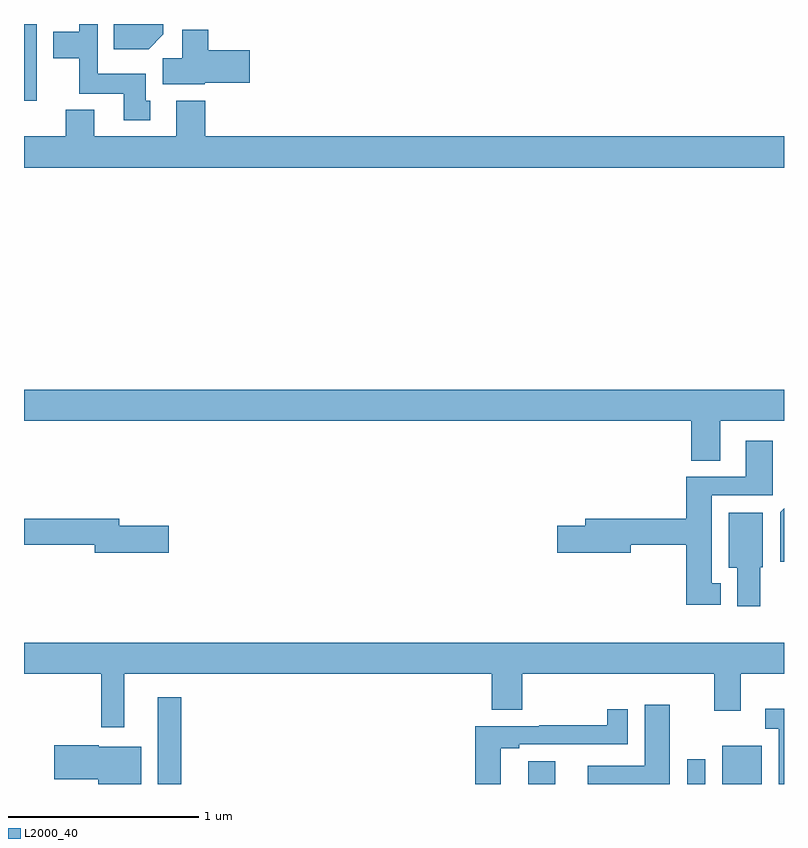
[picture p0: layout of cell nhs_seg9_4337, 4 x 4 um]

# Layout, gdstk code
import gdstk
lib = gdstk.Library(unit=1e-6, precision=1e-09)
def R(c, l, rs):  # rectangles x0, y0, x1, y1
    for r in rs: c.add(gdstk.rectangle(r[:2], r[2:], *l))
def P(c, l, *ps):  # polygons
    for p in ps: c.add(gdstk.Polygon(p, *l))
L2000_40 = (2000, 40)

nhs_seg9_4337 = lib.new_cell('nhs_seg9_4337')
R(nhs_seg9_4337, L2000_40, [(359.705,1202.5,359.827,1202.956), (361.655,1202.5,361.795,1202.62), (362.49,1202.5,362.586,1202.629), (362.675,1202.5,362.884,1202.701), (359,1206.096,359.068,1206.5)])
P(nhs_seg9_4337, L2000_40, [(359.665,1206.096),(359.641,1206.096),(359.641,1206.238),(359.388,1206.238),(359.388,1206.5),(359.292,1206.5),(359.292,1206.46),(359.153,1206.46),(359.153,1206.32),(359.29,1206.32),(359.29,1206.134),(359.525,1206.134),(359.525,1205.994),(359.665,1205.994)],
  [(359.734,1206.446),(359.734,1206.5),(359.473,1206.5),(359.473,1206.368),(359.656,1206.368)],
  [(359.952,1206.191),(360.187,1206.191),(360.187,1206.362),(359.969,1206.362),(359.969,1206.469),(359.834,1206.469),(359.834,1206.32),(359.729,1206.32),(359.729,1206.182),(359.952,1206.182)],
  [(363,1205.908),(359.954,1205.908),(359.954,1206.097),(359.801,1206.097),(359.801,1205.908),(359.371,1205.908),(359.371,1206.049),(359.219,1206.049),(359.219,1205.908),(359,1205.908),(359,1205.744),(363,1205.744)],
  [(362.665,1204.412),(363,1204.412),(363,1204.576),(359,1204.576),(359,1204.412),(362.513,1204.412),(362.513,1204.201),(362.665,1204.201)],
  [(362.668,1203.557),(362.62,1203.557),(362.62,1204.02),(362.941,1204.02),(362.941,1204.306),(362.798,1204.306),(362.798,1204.116),(362.486,1204.116),(362.486,1203.896),(361.955,1203.896),(361.955,1203.86),(361.806,1203.86),(361.806,1203.718),(362.194,1203.718),(362.194,1203.76),(362.486,1203.76),(362.486,1203.444),(362.668,1203.444)],
  [(363,1203.951),(362.979,1203.93),(362.979,1203.669),(363,1203.669)],
  [(362.875,1203.642),(362.887,1203.642),(362.887,1203.928),(362.708,1203.928),(362.708,1203.638),(362.753,1203.638),(362.753,1203.435),(362.875,1203.435)],
  [(359.761,1203.86),(359.5,1203.86),(359.5,1203.896),(359,1203.896),(359,1203.76),(359.372,1203.76),(359.372,1203.718),(359.761,1203.718)],
  [(359.527,1203.08),(361.463,1203.08),(361.463,1202.89),(361.623,1202.89),(361.623,1203.08),(362.633,1203.08),(362.633,1202.886),(362.773,1202.886),(362.773,1203.08),(363,1203.08),(363,1203.244),(359,1203.244),(359,1203.08),(359.406,1203.08),(359.406,1202.799),(359.527,1202.799)],
  [(362.398,1202.917),(362.267,1202.917),(362.267,1202.596),(361.968,1202.596),(361.968,1202.5),(362.398,1202.5)],
  [(363,1202.896),(362.901,1202.896),(362.901,1202.79),(362.973,1202.79),(362.973,1202.5),(363,1202.5)],
  [(361.51,1202.689),(361.606,1202.689),(361.606,1202.709),(362.178,1202.709),(362.178,1202.893),(362.07,1202.893),(362.07,1202.81),(361.711,1202.81),(361.711,1202.805),(361.376,1202.805),(361.376,1202.5),(361.51,1202.5)],
  [(359.617,1202.695),(359.394,1202.695),(359.394,1202.703),(359.16,1202.703),(359.16,1202.525),(359.39,1202.525),(359.39,1202.5),(359.617,1202.5)])

lib.write_gds('nhs_seg9_4337.gds')
